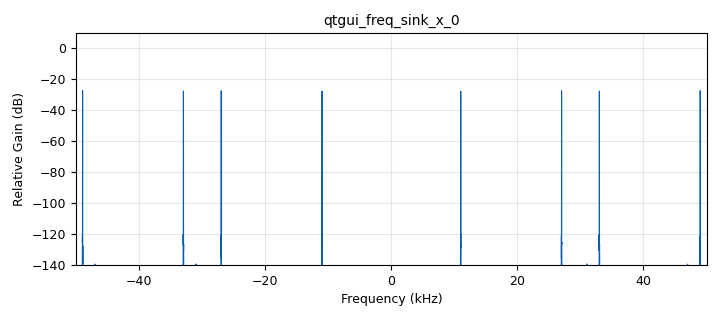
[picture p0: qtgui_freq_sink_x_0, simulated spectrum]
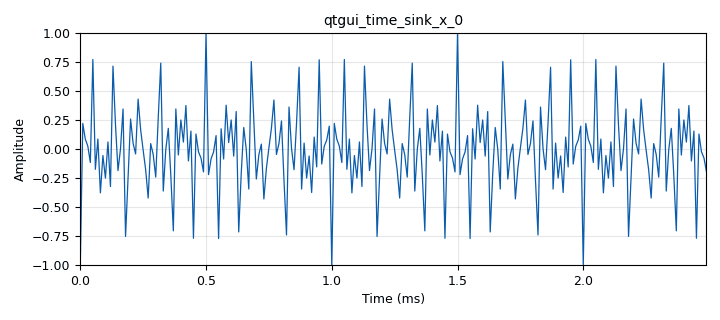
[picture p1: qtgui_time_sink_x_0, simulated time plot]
options:
  parameters:
    author: L1C_G6
    copyright: '2020'
    description: Sample Rate demo
    generate_options: qt_gui
    id: LABCOM1_L1C_G6
    output_language: python
    title: Práctica1
  states: {}

blocks:
- name: samp_rate
  id: variable
  parameters:
    value: '100000'
  states: {}
- name: analog_sig_source_x_0
  id: analog_sig_source_x
  parameters:
    amp: '1'
    freq: '11000'
    offset: '0'
    phase: '0'
    samp_rate: samp_rate
    type: float
    waveform: analog.GR_COS_WAVE
  states: {}
- name: analog_sig_source_x_0_0
  id: analog_sig_source_x
  parameters:
    amp: '1'
    freq: '8000'
    offset: '0'
    phase: '0'
    samp_rate: samp_rate
    type: float
    waveform: analog.GR_COS_WAVE
  states: {}
- name: analog_sig_source_x_0_1
  id: analog_sig_source_x
  parameters:
    amp: '1'
    freq: '30000'
    offset: '0'
    phase: '0'
    samp_rate: samp_rate
    type: float
    waveform: analog.GR_COS_WAVE
  states: {}
- name: blocks_multiply_xx_0
  id: blocks_multiply_xx
  parameters:
    num_inputs: '3'
    type: float
  states: {}
- name: qtgui_freq_sink_x_0
  id: qtgui_freq_sink_x
  parameters:
    bw: samp_rate
    fc: '0'
    fftsize: '32768'
    type: float
  states: {}
- name: qtgui_time_sink_x_0
  id: qtgui_time_sink_x
  parameters:
    size: '250'
    srate: samp_rate
    type: float
  states: {}

connections:
- [analog_sig_source_x_0, '0', blocks_multiply_xx_0, '0']
- [analog_sig_source_x_0_0, '0', blocks_multiply_xx_0, '2']
- [analog_sig_source_x_0_1, '0', blocks_multiply_xx_0, '1']
- [blocks_multiply_xx_0, '0', qtgui_freq_sink_x_0, '0']
- [blocks_multiply_xx_0, '0', qtgui_time_sink_x_0, '0']

metadata:
  file_format: 1
